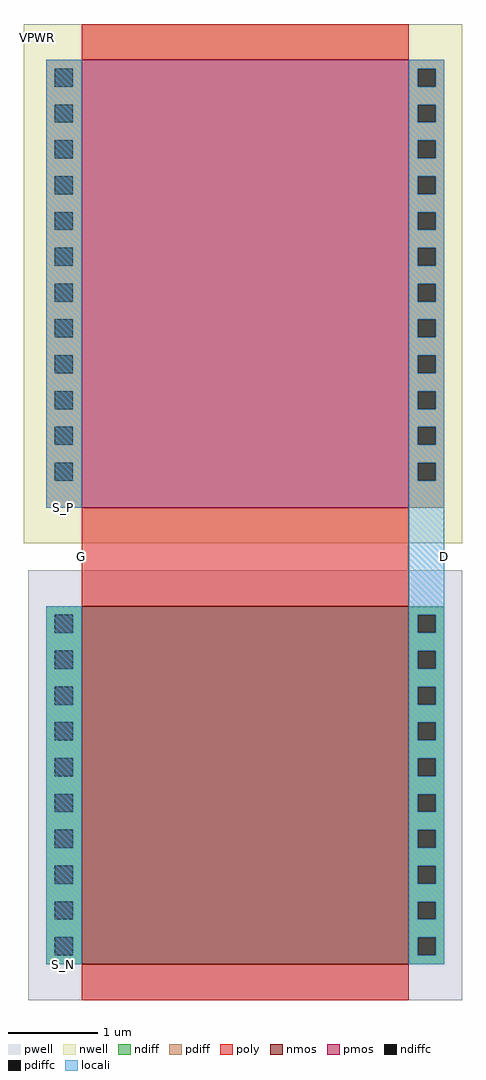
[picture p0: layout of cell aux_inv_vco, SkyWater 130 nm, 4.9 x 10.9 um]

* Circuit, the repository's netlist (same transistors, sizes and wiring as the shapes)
* NGSPICE file created from aux_inv_vco.ext - technology: sky130A

.subckt nmos_vco_aux D G S VSUBS
X0 D G S VSUBS sky130_fd_pr__nfet_01v8 ad=1.6 pd=8.8 as=1.6 ps=8.8 w=4 l=3.65
.ends

.subckt pmos_vco_aux D G S VPWR
X0 D G S VPWR sky130_fd_pr__pfet_01v8 ad=2 pd=10.8 as=2 ps=10.8 w=5 l=3.65
.ends

.subckt aux_inv_vco D G S_P S_N VPWR
Xnmos_vco_aux_0 D G S_N VSUBS nmos_vco_aux
Xpmos_vco_aux_0 D G S_P VPWR pmos_vco_aux
.ends

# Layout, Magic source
magic
tech sky130A
<< nwell >>
rect 0 10 490 590
<< poly >>
rect 65 -20 430 10
<< locali >>
rect 25 50 65 550
rect 430 -60 470 50
rect 25 -460 65 -60
use nmos_vco_aux  nmos_vco_aux_0
transform 1 0 65 0 1 -460
box -60 -40 425 440
use pmos_vco_aux  pmos_vco_aux_0
transform 1 0 65 0 1 50
box -65 -40 425 540
<< labels >>
rlabel locali 470 -5 470 -5 3 D
port 1 e
rlabel poly 65 -5 65 -5 7 G
port 2 w
rlabel locali 45 50 45 50 5 S_P
port 3 s
rlabel locali 45 -460 45 -460 5 S_N
port 4 s
rlabel nwell 15 575 15 575 1 VPWR
port 5 n
<< end >>

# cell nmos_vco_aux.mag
magic
tech sky130A
<< pwell >>
rect -60 -40 425 440
<< nmos >>
rect 0 0 365 400
<< ndiff >>
rect -40 390 0 400
rect -40 370 -30 390
rect -10 370 0 390
rect -40 350 0 370
rect -40 330 -30 350
rect -10 330 0 350
rect -40 310 0 330
rect -40 290 -30 310
rect -10 290 0 310
rect -40 270 0 290
rect -40 250 -30 270
rect -10 250 0 270
rect -40 230 0 250
rect -40 210 -30 230
rect -10 210 0 230
rect -40 190 0 210
rect -40 170 -30 190
rect -10 170 0 190
rect -40 150 0 170
rect -40 130 -30 150
rect -10 130 0 150
rect -40 110 0 130
rect -40 90 -30 110
rect -10 90 0 110
rect -40 70 0 90
rect -40 50 -30 70
rect -10 50 0 70
rect -40 30 0 50
rect -40 10 -30 30
rect -10 10 0 30
rect -40 0 0 10
rect 365 390 405 400
rect 365 370 375 390
rect 395 370 405 390
rect 365 350 405 370
rect 365 330 375 350
rect 395 330 405 350
rect 365 310 405 330
rect 365 290 375 310
rect 395 290 405 310
rect 365 270 405 290
rect 365 250 375 270
rect 395 250 405 270
rect 365 230 405 250
rect 365 210 375 230
rect 395 210 405 230
rect 365 190 405 210
rect 365 170 375 190
rect 395 170 405 190
rect 365 150 405 170
rect 365 130 375 150
rect 395 130 405 150
rect 365 110 405 130
rect 365 90 375 110
rect 395 90 405 110
rect 365 70 405 90
rect 365 50 375 70
rect 395 50 405 70
rect 365 30 405 50
rect 365 10 375 30
rect 395 10 405 30
rect 365 0 405 10
<< ndiffc >>
rect -30 370 -10 390
rect -30 330 -10 350
rect -30 290 -10 310
rect -30 250 -10 270
rect -30 210 -10 230
rect -30 170 -10 190
rect -30 130 -10 150
rect -30 90 -10 110
rect -30 50 -10 70
rect -30 10 -10 30
rect 375 370 395 390
rect 375 330 395 350
rect 375 290 395 310
rect 375 250 395 270
rect 375 210 395 230
rect 375 170 395 190
rect 375 130 395 150
rect 375 90 395 110
rect 375 50 395 70
rect 375 10 395 30
<< poly >>
rect 0 400 365 440
rect 0 -40 365 0
<< locali >>
rect -40 390 0 400
rect -40 370 -30 390
rect -10 370 0 390
rect -40 350 0 370
rect -40 330 -30 350
rect -10 330 0 350
rect -40 310 0 330
rect -40 290 -30 310
rect -10 290 0 310
rect -40 270 0 290
rect -40 250 -30 270
rect -10 250 0 270
rect -40 230 0 250
rect -40 210 -30 230
rect -10 210 0 230
rect -40 190 0 210
rect -40 170 -30 190
rect -10 170 0 190
rect -40 150 0 170
rect -40 130 -30 150
rect -10 130 0 150
rect -40 110 0 130
rect -40 90 -30 110
rect -10 90 0 110
rect -40 70 0 90
rect -40 50 -30 70
rect -10 50 0 70
rect -40 30 0 50
rect -40 10 -30 30
rect -10 10 0 30
rect -40 0 0 10
rect 365 390 405 400
rect 365 370 375 390
rect 395 370 405 390
rect 365 350 405 370
rect 365 330 375 350
rect 395 330 405 350
rect 365 310 405 330
rect 365 290 375 310
rect 395 290 405 310
rect 365 270 405 290
rect 365 250 375 270
rect 395 250 405 270
rect 365 230 405 250
rect 365 210 375 230
rect 395 210 405 230
rect 365 190 405 210
rect 365 170 375 190
rect 395 170 405 190
rect 365 150 405 170
rect 365 130 375 150
rect 395 130 405 150
rect 365 110 405 130
rect 365 90 375 110
rect 395 90 405 110
rect 365 70 405 90
rect 365 50 375 70
rect 395 50 405 70
rect 365 30 405 50
rect 365 10 375 30
rect 395 10 405 30
rect 365 0 405 10
<< labels >>
rlabel locali 385 400 385 400 1 D
port 1 n
rlabel poly 185 440 185 440 1 G
port 2 n
rlabel locali -20 400 -20 400 1 S
port 3 n
<< end >>

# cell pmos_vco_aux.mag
magic
tech sky130A
<< nwell >>
rect -65 -40 425 540
<< pmos >>
rect 0 0 365 500
<< pdiff >>
rect -40 490 0 500
rect -40 470 -30 490
rect -10 470 0 490
rect -40 450 0 470
rect -40 430 -30 450
rect -10 430 0 450
rect -40 410 0 430
rect -40 390 -30 410
rect -10 390 0 410
rect -40 370 0 390
rect -40 350 -30 370
rect -10 350 0 370
rect -40 330 0 350
rect -40 310 -30 330
rect -10 310 0 330
rect -40 290 0 310
rect -40 270 -30 290
rect -10 270 0 290
rect -40 250 0 270
rect -40 230 -30 250
rect -10 230 0 250
rect -40 210 0 230
rect -40 190 -30 210
rect -10 190 0 210
rect -40 170 0 190
rect -40 150 -30 170
rect -10 150 0 170
rect -40 130 0 150
rect -40 110 -30 130
rect -10 110 0 130
rect -40 90 0 110
rect -40 70 -30 90
rect -10 70 0 90
rect -40 50 0 70
rect -40 30 -30 50
rect -10 30 0 50
rect -40 0 0 30
rect 365 490 405 500
rect 365 470 375 490
rect 395 470 405 490
rect 365 450 405 470
rect 365 430 375 450
rect 395 430 405 450
rect 365 410 405 430
rect 365 390 375 410
rect 395 390 405 410
rect 365 370 405 390
rect 365 350 375 370
rect 395 350 405 370
rect 365 330 405 350
rect 365 310 375 330
rect 395 310 405 330
rect 365 290 405 310
rect 365 270 375 290
rect 395 270 405 290
rect 365 250 405 270
rect 365 230 375 250
rect 395 230 405 250
rect 365 210 405 230
rect 365 190 375 210
rect 395 190 405 210
rect 365 170 405 190
rect 365 150 375 170
rect 395 150 405 170
rect 365 130 405 150
rect 365 110 375 130
rect 395 110 405 130
rect 365 90 405 110
rect 365 70 375 90
rect 395 70 405 90
rect 365 50 405 70
rect 365 30 375 50
rect 395 30 405 50
rect 365 0 405 30
<< pdiffc >>
rect -30 470 -10 490
rect -30 430 -10 450
rect -30 390 -10 410
rect -30 350 -10 370
rect -30 310 -10 330
rect -30 270 -10 290
rect -30 230 -10 250
rect -30 190 -10 210
rect -30 150 -10 170
rect -30 110 -10 130
rect -30 70 -10 90
rect -30 30 -10 50
rect 375 470 395 490
rect 375 430 395 450
rect 375 390 395 410
rect 375 350 395 370
rect 375 310 395 330
rect 375 270 395 290
rect 375 230 395 250
rect 375 190 395 210
rect 375 150 395 170
rect 375 110 395 130
rect 375 70 395 90
rect 375 30 395 50
<< poly >>
rect 0 500 365 540
rect 0 -40 365 0
<< locali >>
rect -40 490 0 500
rect -40 470 -30 490
rect -10 470 0 490
rect -40 450 0 470
rect -40 430 -30 450
rect -10 430 0 450
rect -40 410 0 430
rect -40 390 -30 410
rect -10 390 0 410
rect -40 370 0 390
rect -40 350 -30 370
rect -10 350 0 370
rect -40 330 0 350
rect -40 310 -30 330
rect -10 310 0 330
rect -40 290 0 310
rect -40 270 -30 290
rect -10 270 0 290
rect -40 250 0 270
rect -40 230 -30 250
rect -10 230 0 250
rect -40 210 0 230
rect -40 190 -30 210
rect -10 190 0 210
rect -40 170 0 190
rect -40 150 -30 170
rect -10 150 0 170
rect -40 130 0 150
rect -40 110 -30 130
rect -10 110 0 130
rect -40 90 0 110
rect -40 70 -30 90
rect -10 70 0 90
rect -40 50 0 70
rect -40 30 -30 50
rect -10 30 0 50
rect -40 0 0 30
rect 365 490 405 500
rect 365 470 375 490
rect 395 470 405 490
rect 365 450 405 470
rect 365 430 375 450
rect 395 430 405 450
rect 365 410 405 430
rect 365 390 375 410
rect 395 390 405 410
rect 365 370 405 390
rect 365 350 375 370
rect 395 350 405 370
rect 365 330 405 350
rect 365 310 375 330
rect 395 310 405 330
rect 365 290 405 310
rect 365 270 375 290
rect 395 270 405 290
rect 365 250 405 270
rect 365 230 375 250
rect 395 230 405 250
rect 365 210 405 230
rect 365 190 375 210
rect 395 190 405 210
rect 365 170 405 190
rect 365 150 375 170
rect 395 150 405 170
rect 365 130 405 150
rect 365 110 375 130
rect 395 110 405 130
rect 365 90 405 110
rect 365 70 375 90
rect 395 70 405 90
rect 365 50 405 70
rect 365 30 375 50
rect 395 30 405 50
rect 365 0 405 30
<< labels >>
rlabel locali 385 500 385 500 1 D
port 1 n
rlabel poly 180 540 180 540 1 G
port 2 n
rlabel locali -20 500 -20 500 1 S
port 3 n
rlabel nwell -35 525 -35 525 1 VPWR
port 4 n
<< end >>
